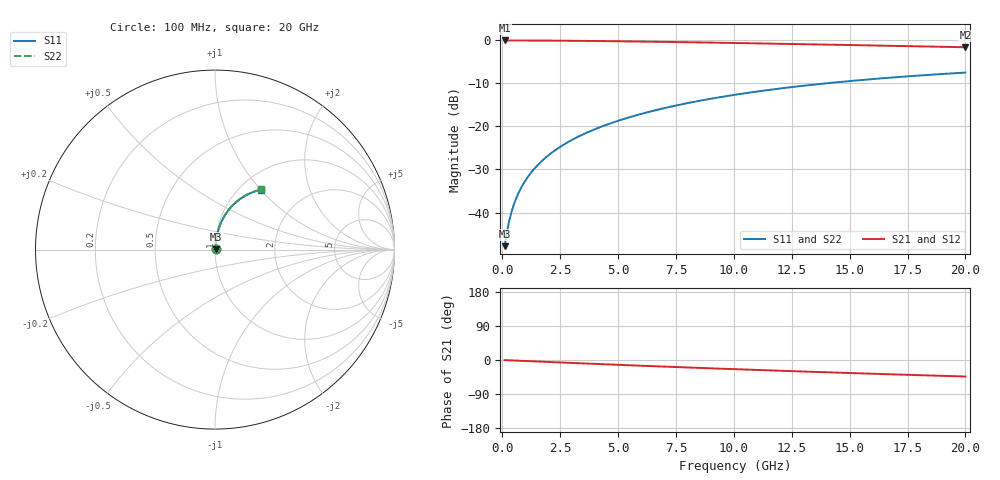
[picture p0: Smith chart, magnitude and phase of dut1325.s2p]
! Touchstone file exported from HFSS 2024.1.0
!  File:  C:/UserFiles/LocalFiles/RDL_TSV_Batchsim/temp_RDL_bottom_1325_1780369124.aedt
!  Generated:  11:01:33 AM Jun  2, 2026
!  Design:  RDL_bottom
!  Project:  temp_RDL_bottom_1325_1780369124
!  Setup:  Setup1
!  Solution:  Sweep
! Variables:
!  dtsv = 10.80580581um
!  hbump = 3um
!  htsv = 80.51um
!  ldown = 597.83um
!  lrdl = 100um
!  p = 40
!  p1 = 51.01um
!  rhole = 1um
!  t = 450um
!  tdown = 3.72um
!  trdl = 3.915915916um
!  wdown = 18.48um
!  wrdl = 20um
# GHz S MA R 50.000000
! Terminal data exported
! Port[1] = RDL1_T1
! Port[2] = RDL1_T2
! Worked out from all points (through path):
!   200 points, 100 MHz to 20 GHz, reference 50 ohm
!   highest |S21| = -0.03 dB at 100 MHz (marker M1); lowest = -1.6 dB at 20 GHz (marker M2)
!   group delay of S21, straight-line fit = 6.03 ps
!   lowest |S11| = -47.8 dB at 100 MHz (marker M3), VSWR 1.01, Z = 50.3 + j0.248 ohm
!   |S11| at or under -10 dB: start of sweep to 13.97 GHz
!   |S22| runs from -47.8 to -7.5 dB; largest |S21 - S12| = 3.5e-15
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0.1  0.004066 37.4  0.9968 -0.3  0.9968 -0.3  0.004066 37.4
! Gamma 0 0 0 0
! Port Impedance 50 0 50 0
0.2  0.005925 55.5  0.9966 -0.5  0.9966 -0.5  0.005925 55.5
0.3  0.008038 64.1  0.9965 -0.8  0.9965 -0.8  0.008038 64.1
0.4  0.01021 69.0  0.9963 -1.1  0.9963 -1.1  0.01021 69.0
0.5  0.01241 72.2  0.9961 -1.3  0.9961 -1.3  0.01241 72.2
0.6  0.01462 74.4  0.9959 -1.6  0.9959 -1.6  0.01462 74.4
0.8  0.01907 77.4  0.9956 -2.1  0.9956 -2.1  0.01907 77.4
1.1  0.02583 79.8  0.995 -2.9  0.995 -2.9  0.02583 79.8
1.5  0.03493 81.3  0.994 -3.9  0.994 -3.9  0.03493 81.4
1.8  0.0418 81.9  0.9931 -4.7  0.9931 -4.7  0.0418 81.9
2.1  0.04869 82.2  0.9921 -5.5  0.9921 -5.5  0.04869 82.2
2.7  0.06255 82.2  0.9896 -7.0  0.9896 -7.0  0.06256 82.3
3.5  0.08116 81.7  0.9855 -9.0  0.9855 -9.0  0.08117 81.8
4.2  0.09752 81.0  0.9812 -10.8  0.9812 -10.8  0.09754 81.0
5  0.1163 80.0  0.9757 -12.7  0.9757 -12.7  0.1163 80.0
5.9  0.1375 78.6  0.9689 -14.9  0.9689 -14.9  0.1375 78.6
6.8  0.1586 77.1  0.9614 -17.0  0.9614 -17.0  0.1587 77.1
8.4  0.1958 74.2  0.9472 -20.6  0.9472 -20.6  0.1959 74.3
10.1  0.2344 71.0  0.9311 -24.4  0.9311 -24.4  0.2346 71.0
13.4  0.3049 64.5  0.8983 -31.2  0.8983 -31.2  0.3051 64.6
16.7  0.3678 58.3  0.8646 -37.6  0.8646 -37.6  0.3681 58.3
20  0.4223 52.3  0.8314 -43.6  0.8314 -43.6  0.4227 52.4
